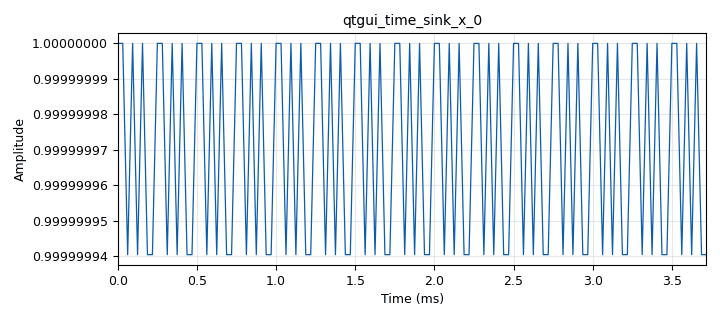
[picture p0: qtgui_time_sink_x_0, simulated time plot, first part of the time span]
options:
  parameters:
    author: gnuradio
    generate_options: qt_gui
    id: ece531_project
    output_language: python
    title: ece531_project
  states: {}

blocks:
- name: samp_rate
  id: variable
  parameters:
    value: '32000'
  states: {}
- name: analog_sig_source_x_0
  id: analog_sig_source_x
  parameters:
    amp: '1'
    freq: '1000'
    offset: '0'
    phase: '0'
    samp_rate: samp_rate
    type: complex
    waveform: analog.GR_COS_WAVE
  states: {}
- name: blocks_complex_to_mag_squared_0
  id: blocks_complex_to_mag_squared
  parameters: {}
  states: {}
- name: blocks_throttle_0
  id: blocks_throttle
  parameters:
    samples_per_second: samp_rate
    type: complex
  states: {}
- name: qtgui_time_sink_x_0
  id: qtgui_time_sink_x
  parameters:
    autoscale: 'True'
    size: '1024'
    srate: samp_rate
    type: float
  states: {}

connections:
- [analog_sig_source_x_0, '0', blocks_throttle_0, '0']
- [blocks_complex_to_mag_squared_0, '0', qtgui_time_sink_x_0, '0']
- [blocks_throttle_0, '0', blocks_complex_to_mag_squared_0, '0']

metadata:
  file_format: 1
